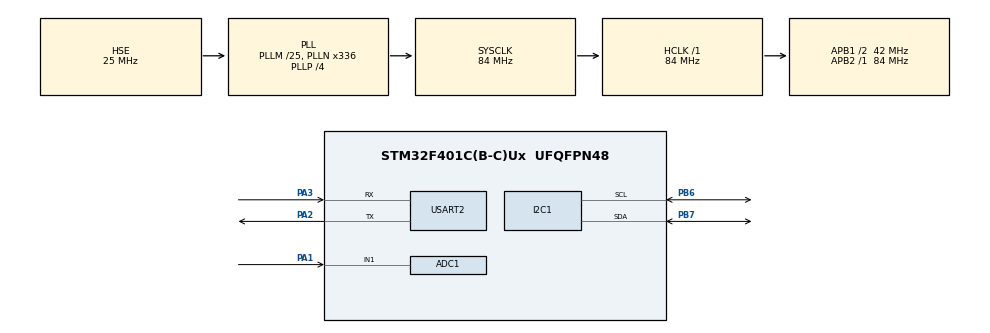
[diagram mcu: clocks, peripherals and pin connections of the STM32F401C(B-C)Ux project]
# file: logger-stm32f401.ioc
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ADC1.Channel-0\#ChannelRegularConversion=ADC_CHANNEL_1
ADC1.ContinuousConvMode=ENABLE
ADC1.DMAContinuousRequests=ENABLE
ADC1.NbrOfConversionFlag=1
ADC1.Rank-0\#ChannelRegularConversion=1
ADC1.SamplingTime-0\#ChannelRegularConversion=ADC_SAMPLETIME_480CYCLES
ADC1.master=1
Dma.ADC1.1.Direction=DMA_PERIPH_TO_MEMORY
Dma.ADC1.1.FIFOMode=DMA_FIFOMODE_DISABLE
Dma.ADC1.1.Instance=DMA2_Stream0
Dma.ADC1.1.MemDataAlignment=DMA_MDATAALIGN_HALFWORD
Dma.ADC1.1.MemInc=DMA_MINC_ENABLE
Dma.ADC1.1.Mode=DMA_CIRCULAR
Dma.ADC1.1.PeriphDataAlignment=DMA_PDATAALIGN_HALFWORD
Dma.ADC1.1.PeriphInc=DMA_PINC_DISABLE
Dma.ADC1.1.Priority=DMA_PRIORITY_LOW
Dma.Request0=USART2_TX
Dma.Request1=ADC1
Dma.USART2_TX.0.Direction=DMA_MEMORY_TO_PERIPH
Dma.USART2_TX.0.FIFOMode=DMA_FIFOMODE_DISABLE
Dma.USART2_TX.0.Instance=DMA1_Stream6
Dma.USART2_TX.0.MemDataAlignment=DMA_MDATAALIGN_BYTE
Dma.USART2_TX.0.MemInc=DMA_MINC_ENABLE
Dma.USART2_TX.0.Mode=DMA_NORMAL
Dma.USART2_TX.0.PeriphDataAlignment=DMA_PDATAALIGN_BYTE
Dma.USART2_TX.0.PeriphInc=DMA_PINC_DISABLE
Dma.USART2_TX.0.Priority=DMA_PRIORITY_LOW
I2C1.I2C_Mode=I2C_Fast
IWDG.Prescaler=IWDG_PRESCALER_32
Mcu.Family=STM32F4
Mcu.Name=STM32F401C(B-C)Ux
Mcu.Package=UFQFPN48
NVIC.DMA1_Stream6_IRQn=true\:0\:0\:false\:false\:true\:false\:true\:true
NVIC.DMA2_Stream0_IRQn=true\:0\:0\:false\:false\:true\:false\:true\:true
NVIC.PriorityGroup=NVIC_PRIORITYGROUP_4
NVIC.TIM3_IRQn=true\:0\:0\:false\:false\:true\:true\:true\:true
NVIC.USART2_IRQn=true\:0\:0\:false\:false\:true\:true\:true\:true
PA1.Signal=ADCx_IN1
PA13.Mode=Serial_Wire
PA13.Signal=SYS_JTMS-SWDIO
PA14.Mode=Serial_Wire
PA14.Signal=SYS_JTCK-SWCLK
PA2.Mode=Asynchronous
PA2.Signal=USART2_TX
PA3.Mode=Asynchronous
PA3.Signal=USART2_RX
PB6.Mode=I2C
PB6.Signal=I2C1_SCL
PB7.Mode=I2C
PB7.Signal=I2C1_SDA
PH0\ -\ OSC_IN.Mode=HSE-External-Oscillator
PH0\ -\ OSC_IN.Signal=RCC_OSC_IN
PH1\ -\ OSC_OUT.Mode=HSE-External-Oscillator
PH1\ -\ OSC_OUT.Signal=RCC_OSC_OUT
ProjectManager.HeapSize=0x200
ProjectManager.StackSize=0x400
ProjectManager.TargetToolchain=STM32CubeIDE
RCC.48MHZClocksFreq_Value=84000000
RCC.AHBFreq_Value=84000000
RCC.APB1CLKDivider=RCC_HCLK_DIV2
RCC.APB1Freq_Value=42000000
RCC.APB1TimFreq_Value=84000000
RCC.APB2Freq_Value=84000000
RCC.APB2TimFreq_Value=84000000
RCC.CortexFreq_Value=84000000
RCC.HCLKFreq_Value=84000000
RCC.HSE_VALUE=25000000
RCC.HSI_VALUE=16000000
RCC.LSE_VALUE=32768
RCC.PLLM=25
RCC.PLLN=336
RCC.PLLP=RCC_PLLP_DIV4
RCC.PLLSourceVirtual=RCC_PLLSOURCE_HSE
RCC.SYSCLKFreq_VALUE=84000000
RCC.SYSCLKSource=RCC_SYSCLKSOURCE_PLLCLK
RCC.VCOOutputFreq_Value=336000000
SH.ADCx_IN1.0=ADC1_IN1,IN1
TIM3.AutoReloadPreload=TIM_AUTORELOAD_PRELOAD_ENABLE
TIM3.Period=10000-1
TIM3.Prescaler=8400-1
USART2.VirtualMode=VM_ASYNC
VP_IWDG_VS_IWDG.Mode=IWDG_Activate
VP_TIM3_VS_ClockSourceINT.Mode=Internal
board=custom

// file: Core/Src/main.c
/* USER CODE BEGIN Header */
/**
 ******************************************************************************
 * @file           : main.c
 * @brief          : Main program body
 ******************************************************************************
 * @attention
 *
 * Copyright (c) 2026 STMicroelectronics.
 * All rights reserved.
 *
 * This software is licensed under terms that can be found in the LICENSE file
 * in the root directory of this software component.
 * If no LICENSE file comes with this software, it is provided AS-IS.
 *
 ******************************************************************************
 */
/* USER CODE END Header */
#include "main.h"
#include "adc.h"
#include "dma.h"
#include "i2c.h"
#include "iwdg.h"
#include "tim.h"
#include "usart.h"
#include "gpio.h"

/* USER CODE BEGIN Includes */
#include <stdio.h>
#include "uart_log.h"
#include "i2c_bus.h"
#include "ds3231.h"
#include "bme280.h"
#include "logger.h"
#include "reset_info.h"
#include "watchdog.h"
#include "uart_rx.h"
#include "cli.h"
/* USER CODE END Includes */

void SystemClock_Config(void);

int main(void)
{

  /* MCU Configuration--------------------------------------------------------*/

  /* Reset of all peripherals, Initializes the Flash interface and the Systick. */
  HAL_Init();

  /* USER CODE BEGIN Init */
	__HAL_DBGMCU_FREEZE_IWDG();
  /* USER CODE END Init */

  /* Configure the system clock */
  SystemClock_Config();

  /* Initialize all configured peripherals */
  MX_GPIO_Init();
  MX_DMA_Init();
  MX_USART2_UART_Init();
  MX_TIM3_Init();
  MX_I2C1_Init();
  MX_IWDG_Init();
  MX_ADC1_Init();
  /* USER CODE BEGIN 2 */
	uart_log_init(&huart2);
	printf("\r\n=== Env Logger started ===\r\n");
	printf("SYSCLK = %lu Hz\r\n", HAL_RCC_GetSysClockFreq());
	printf("Reset reason: %s\r\n", reset_info_name(reset_info_get_and_clear()));

	watchdog_kick();
	i2c_bus_scan(&hi2c1);
	watchdog_kick();
	logger_init();
	uart_rx_init(&huart2);
	watchdog_kick();
	HAL_TIM_Base_Start_IT(&htim3);
  /* USER CODE END 2 */

  /* Infinite loop */
	while (1) {

    /* USER CODE BEGIN 3 */
		logger_task();
		cli_task();
		watchdog_kick();

	}
  /* USER CODE END 3 */
}

void SystemClock_Config(void)
{
  RCC_OscInitTypeDef RCC_OscInitStruct = {0};
  RCC_ClkInitTypeDef RCC_ClkInitStruct = {0};

  /** Configure the main internal regulator output voltage
  */
  __HAL_RCC_PWR_CLK_ENABLE();
  __HAL_PWR_VOLTAGESCALING_CONFIG(PWR_REGULATOR_VOLTAGE_SCALE2);

  /** Initializes the RCC Oscillators according to the specified parameters
  * in the RCC_OscInitTypeDef structure.
  */
  RCC_OscInitStruct.OscillatorType = RCC_OSCILLATORTYPE_LSI|RCC_OSCILLATORTYPE_HSE;
  RCC_OscInitStruct.HSEState = RCC_HSE_ON;
  RCC_OscInitStruct.LSIState = RCC_LSI_ON;
  RCC_OscInitStruct.PLL.PLLState = RCC_PLL_ON;
  RCC_OscInitStruct.PLL.PLLSource = RCC_PLLSOURCE_HSE;
  RCC_OscInitStruct.PLL.PLLM = 25;
  RCC_OscInitStruct.PLL.PLLN = 336;
  RCC_OscInitStruct.PLL.PLLP = RCC_PLLP_DIV4;
  RCC_OscInitStruct.PLL.PLLQ = 4;
  if (HAL_RCC_OscConfig(&RCC_OscInitStruct) != HAL_OK)
  {
    Error_Handler();
  }

  /** Initializes the CPU, AHB and APB buses clocks
  */
  RCC_ClkInitStruct.ClockType = RCC_CLOCKTYPE_HCLK|RCC_CLOCKTYPE_SYSCLK
                              |RCC_CLOCKTYPE_PCLK1|RCC_CLOCKTYPE_PCLK2;
  RCC_ClkInitStruct.SYSCLKSource = RCC_SYSCLKSOURCE_PLLCLK;
  RCC_ClkInitStruct.AHBCLKDivider = RCC_SYSCLK_DIV1;
  RCC_ClkInitStruct.APB1CLKDivider = RCC_HCLK_DIV2;
  RCC_ClkInitStruct.APB2CLKDivider = RCC_HCLK_DIV1;

  if (HAL_RCC_ClockConfig(&RCC_ClkInitStruct, FLASH_LATENCY_2) != HAL_OK)
  {
    Error_Handler();
  }
}

/* USER CODE BEGIN 4 */
void HAL_UART_TxCpltCallback(UART_HandleTypeDef *huart) {
	uart_log_on_tx_complete(huart);
}

void HAL_UART_RxCpltCallback(UART_HandleTypeDef *huart) {
	uart_rx_on_byte(huart);
}

void HAL_UART_ErrorCallback(UART_HandleTypeDef *huart) {
	uart_log_on_error(huart);
	uart_rx_on_error(huart);
}

void HAL_TIM_PeriodElapsedCallback(TIM_HandleTypeDef *htim) {
	if (htim->Instance == TIM3) {
	    logger_on_tick();
	}
}

/* USER CODE END 4 */

void Error_Handler(void)
{
	__disable_irq();
	while (1) {
	}
}
